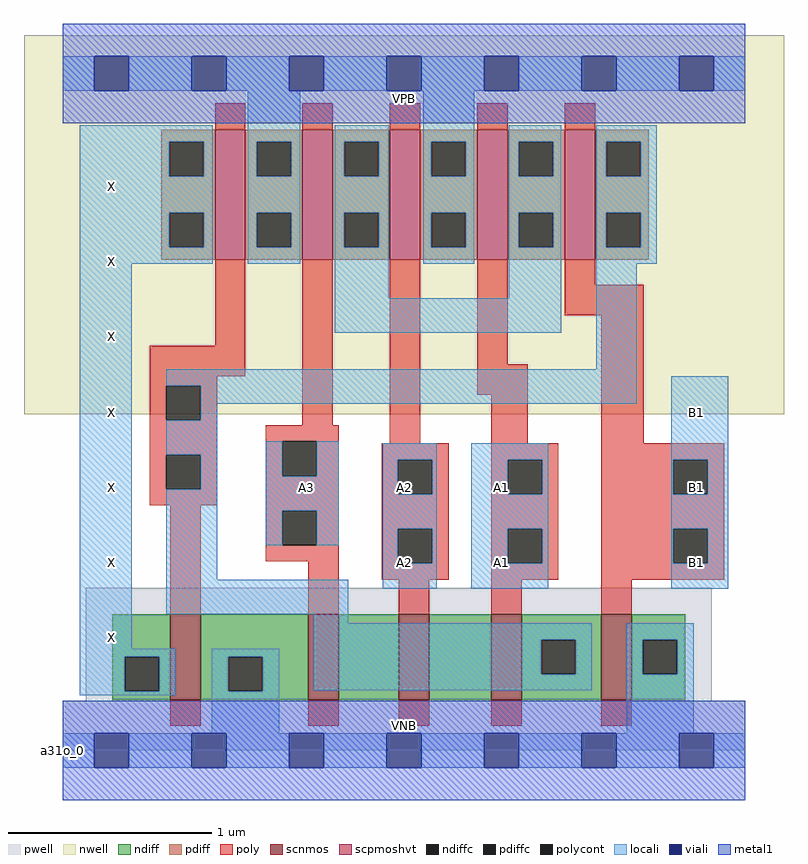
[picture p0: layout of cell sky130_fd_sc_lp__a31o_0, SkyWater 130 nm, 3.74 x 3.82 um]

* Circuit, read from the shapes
.subckt sky130_fd_sc_lp__a31o_0 A1 A2 A3 B1 VGND VNB VPB VPWR X
XM1 VGND n1 X VNB sky130_fd_pr__nfet_01v8 w=0.42 l=0.15
XM2 n2 A3 VGND VNB sky130_fd_pr__nfet_01v8 w=0.42 l=0.15
XM3 n3 A2 n2 VNB sky130_fd_pr__nfet_01v8 w=0.42 l=0.15
XM4 n1 A1 n3 VNB sky130_fd_pr__nfet_01v8 w=0.42 l=0.15
XM5 VGND B1 n1 VNB sky130_fd_pr__nfet_01v8 w=0.42 l=0.15
XM6 VPWR n1 X VPB sky130_fd_pr__pfet_01v8_hvt w=0.64 l=0.15
XM7 n4 A3 VPWR VPB sky130_fd_pr__pfet_01v8_hvt w=0.64 l=0.15
XM8 VPWR A2 n4 VPB sky130_fd_pr__pfet_01v8_hvt w=0.64 l=0.15
XM9 n4 A1 VPWR VPB sky130_fd_pr__pfet_01v8_hvt w=0.64 l=0.15
XM10 n1 B1 n4 VPB sky130_fd_pr__pfet_01v8_hvt w=0.64 l=0.15
.ends

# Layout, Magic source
magic
tech sky130A
magscale 1 2
<< nwell >>
rect -38 331 710 704
<< pwell >>
rect 23 49 639 160
rect 0 0 672 49
<< scnmos >>
rect 106 50 136 134
rect 242 50 272 134
rect 331 50 361 134
rect 422 50 452 134
rect 530 50 560 134
<< scpmoshvt >>
rect 150 483 180 611
rect 236 483 266 611
rect 322 483 352 611
rect 408 483 438 611
rect 494 483 524 611
<< ndiff >>
rect 49 92 106 134
rect 49 58 61 92
rect 95 58 106 92
rect 49 50 106 58
rect 136 92 242 134
rect 136 58 163 92
rect 197 58 242 92
rect 136 50 242 58
rect 272 50 331 134
rect 361 50 422 134
rect 452 109 530 134
rect 452 75 471 109
rect 505 75 530 109
rect 452 50 530 75
rect 560 109 613 134
rect 560 75 571 109
rect 605 75 613 109
rect 560 50 613 75
<< pdiff >>
rect 97 599 150 611
rect 97 565 105 599
rect 139 565 150 599
rect 97 529 150 565
rect 97 495 105 529
rect 139 495 150 529
rect 97 483 150 495
rect 180 599 236 611
rect 180 565 191 599
rect 225 565 236 599
rect 180 529 236 565
rect 180 495 191 529
rect 225 495 236 529
rect 180 483 236 495
rect 266 599 322 611
rect 266 565 277 599
rect 311 565 322 599
rect 266 529 322 565
rect 266 495 277 529
rect 311 495 322 529
rect 266 483 322 495
rect 352 599 408 611
rect 352 565 363 599
rect 397 565 408 599
rect 352 529 408 565
rect 352 495 363 529
rect 397 495 408 529
rect 352 483 408 495
rect 438 599 494 611
rect 438 565 449 599
rect 483 565 494 599
rect 438 529 494 565
rect 438 495 449 529
rect 483 495 494 529
rect 438 483 494 495
rect 524 599 577 611
rect 524 565 535 599
rect 569 565 577 599
rect 524 529 577 565
rect 524 495 535 529
rect 569 495 577 529
rect 524 483 577 495
<< ndiffc >>
rect 61 58 95 92
rect 163 58 197 92
rect 471 75 505 109
rect 571 75 605 109
<< pdiffc >>
rect 105 565 139 599
rect 105 495 139 529
rect 191 565 225 599
rect 191 495 225 529
rect 277 565 311 599
rect 277 495 311 529
rect 363 565 397 599
rect 363 495 397 529
rect 449 565 483 599
rect 449 495 483 529
rect 535 565 569 599
rect 535 495 569 529
<< poly >>
rect 150 611 180 637
rect 236 611 266 637
rect 322 611 352 637
rect 408 611 438 637
rect 494 611 524 637
rect 150 398 180 483
rect 86 368 180 398
rect 86 359 152 368
rect 86 325 102 359
rect 136 325 152 359
rect 86 291 152 325
rect 236 320 266 483
rect 86 257 102 291
rect 136 257 152 291
rect 86 241 152 257
rect 200 304 272 320
rect 200 270 216 304
rect 250 270 272 304
rect 322 302 352 483
rect 408 380 438 483
rect 494 458 524 483
rect 494 428 572 458
rect 408 350 458 380
rect 422 302 458 350
rect 530 302 572 428
rect 106 134 136 241
rect 200 236 272 270
rect 200 202 216 236
rect 250 202 272 236
rect 200 186 272 202
rect 242 134 272 186
rect 314 286 380 302
rect 314 252 330 286
rect 364 252 380 286
rect 314 218 380 252
rect 314 184 330 218
rect 364 184 380 218
rect 314 168 380 184
rect 422 286 488 302
rect 422 252 438 286
rect 472 252 488 286
rect 422 218 488 252
rect 422 184 438 218
rect 472 184 488 218
rect 422 168 488 184
rect 530 286 651 302
rect 530 252 601 286
rect 635 252 651 286
rect 530 218 651 252
rect 530 184 601 218
rect 635 184 651 218
rect 530 168 651 184
rect 331 134 361 168
rect 422 134 452 168
rect 530 134 560 168
rect 106 24 136 50
rect 242 24 272 50
rect 331 24 361 50
rect 422 24 452 50
rect 530 24 560 50
<< polycont >>
rect 102 325 136 359
rect 102 257 136 291
rect 216 270 250 304
rect 216 202 250 236
rect 330 252 364 286
rect 330 184 364 218
rect 438 252 472 286
rect 438 184 472 218
rect 601 252 635 286
rect 601 184 635 218
<< locali >>
rect 0 649 31 683
rect 65 649 127 683
rect 161 649 223 683
rect 257 649 319 683
rect 353 649 415 683
rect 449 649 511 683
rect 545 649 607 683
rect 641 649 672 683
rect 17 599 148 615
rect 17 565 105 599
rect 139 565 148 599
rect 17 529 148 565
rect 17 495 105 529
rect 139 495 148 529
rect 17 479 148 495
rect 182 599 234 649
rect 182 565 191 599
rect 225 565 234 599
rect 182 529 234 565
rect 182 495 191 529
rect 225 495 234 529
rect 182 479 234 495
rect 268 599 321 615
rect 268 565 277 599
rect 311 565 321 599
rect 268 529 321 565
rect 268 495 277 529
rect 311 495 321 529
rect 17 100 68 479
rect 268 445 321 495
rect 355 599 405 649
rect 355 565 363 599
rect 397 565 405 599
rect 355 529 405 565
rect 355 495 363 529
rect 397 495 405 529
rect 355 479 405 495
rect 439 599 491 615
rect 439 565 449 599
rect 483 565 491 599
rect 439 529 491 565
rect 439 495 449 529
rect 483 495 491 529
rect 439 445 491 495
rect 268 411 491 445
rect 525 599 585 615
rect 525 565 535 599
rect 569 565 585 599
rect 525 529 585 565
rect 525 495 535 529
rect 569 495 585 529
rect 525 479 585 495
rect 525 375 565 479
rect 102 359 565 375
rect 136 341 565 359
rect 136 325 152 341
rect 102 291 152 325
rect 136 257 152 291
rect 102 168 152 257
rect 200 270 216 304
rect 250 270 272 304
rect 200 236 272 270
rect 200 202 216 236
rect 250 202 272 236
rect 315 286 368 302
rect 315 252 330 286
rect 364 252 368 286
rect 315 218 368 252
rect 315 184 330 218
rect 364 184 368 218
rect 102 134 281 168
rect 315 159 368 184
rect 402 286 478 302
rect 402 252 438 286
rect 472 252 478 286
rect 402 218 478 252
rect 402 184 438 218
rect 472 184 478 218
rect 402 159 478 184
rect 599 286 655 368
rect 599 252 601 286
rect 635 252 655 286
rect 599 218 655 252
rect 599 184 601 218
rect 635 184 655 218
rect 599 159 655 184
rect 247 125 281 134
rect 247 109 521 125
rect 17 92 111 100
rect 17 58 61 92
rect 95 58 111 92
rect 17 54 111 58
rect 147 92 213 100
rect 147 58 163 92
rect 197 58 213 92
rect 247 75 471 109
rect 505 75 521 109
rect 247 59 521 75
rect 555 109 621 125
rect 555 75 571 109
rect 605 75 621 109
rect 147 17 213 58
rect 555 17 621 75
rect 0 -17 31 17
rect 65 -17 127 17
rect 161 -17 223 17
rect 257 -17 319 17
rect 353 -17 415 17
rect 449 -17 511 17
rect 545 -17 607 17
rect 641 -17 672 17
<< viali >>
rect 31 649 65 683
rect 127 649 161 683
rect 223 649 257 683
rect 319 649 353 683
rect 415 649 449 683
rect 511 649 545 683
rect 607 649 641 683
rect 31 -17 65 17
rect 127 -17 161 17
rect 223 -17 257 17
rect 319 -17 353 17
rect 415 -17 449 17
rect 511 -17 545 17
rect 607 -17 641 17
<< metal1 >>
rect 0 683 672 715
rect 0 649 31 683
rect 65 649 127 683
rect 161 649 223 683
rect 257 649 319 683
rect 353 649 415 683
rect 449 649 511 683
rect 545 649 607 683
rect 641 649 672 683
rect 0 617 672 649
rect 0 17 672 49
rect 0 -17 31 17
rect 65 -17 127 17
rect 161 -17 223 17
rect 257 -17 319 17
rect 353 -17 415 17
rect 449 -17 511 17
rect 545 -17 607 17
rect 641 -17 672 17
rect 0 -49 672 -17
<< labels >>
flabel pwell s 0 0 672 49 0 FreeSans 200 0 0 0 VNB
port 6 nsew ground bidirectional
flabel nwell s 0 617 672 666 0 FreeSans 200 0 0 0 VPB
port 7 nsew power bidirectional
rlabel comment s 0 0 0 0 4 a31o_0
flabel metal1 s 0 617 672 666 0 FreeSans 340 0 0 0 VPWR
port 8 nsew power bidirectional
flabel metal1 s 0 0 672 49 0 FreeSans 340 0 0 0 VGND
port 5 nsew ground bidirectional
flabel locali s 415 168 449 202 0 FreeSans 340 0 0 0 A1
port 1 nsew signal input
flabel locali s 415 242 449 276 0 FreeSans 340 0 0 0 A1
port 1 nsew signal input
flabel locali s 319 168 353 202 0 FreeSans 340 0 0 0 A2
port 2 nsew signal input
flabel locali s 319 242 353 276 0 FreeSans 340 0 0 0 A2
port 2 nsew signal input
flabel locali s 223 242 257 276 0 FreeSans 340 0 0 0 A3
port 3 nsew signal input
flabel locali s 607 168 641 202 0 FreeSans 340 0 0 0 B1
port 4 nsew signal input
flabel locali s 607 242 641 276 0 FreeSans 340 0 0 0 B1
port 4 nsew signal input
flabel locali s 607 316 641 350 0 FreeSans 340 0 0 0 B1
port 4 nsew signal input
flabel locali s 31 94 65 128 0 FreeSans 340 0 0 0 X
port 9 nsew signal output
flabel locali s 31 168 65 202 0 FreeSans 340 0 0 0 X
port 9 nsew signal output
flabel locali s 31 242 65 276 0 FreeSans 340 0 0 0 X
port 9 nsew signal output
flabel locali s 31 316 65 350 0 FreeSans 340 0 0 0 X
port 9 nsew signal output
flabel locali s 31 390 65 424 0 FreeSans 340 0 0 0 X
port 9 nsew signal output
flabel locali s 31 464 65 498 0 FreeSans 340 0 0 0 X
port 9 nsew signal output
flabel locali s 31 538 65 572 0 FreeSans 340 0 0 0 X
port 9 nsew signal output
<< properties >>
string LEFsite unit
string LEFclass CORE
string FIXED_BBOX 0 0 672 666
string GDS_FILE $PDKPATH/libs.ref/sky130_fd_sc_lp/gds/sky130_fd_sc_lp.gds
string LEFsymmetry X Y R90
string GDS_END 2646686
string GDS_START 2639328
<< end >>
